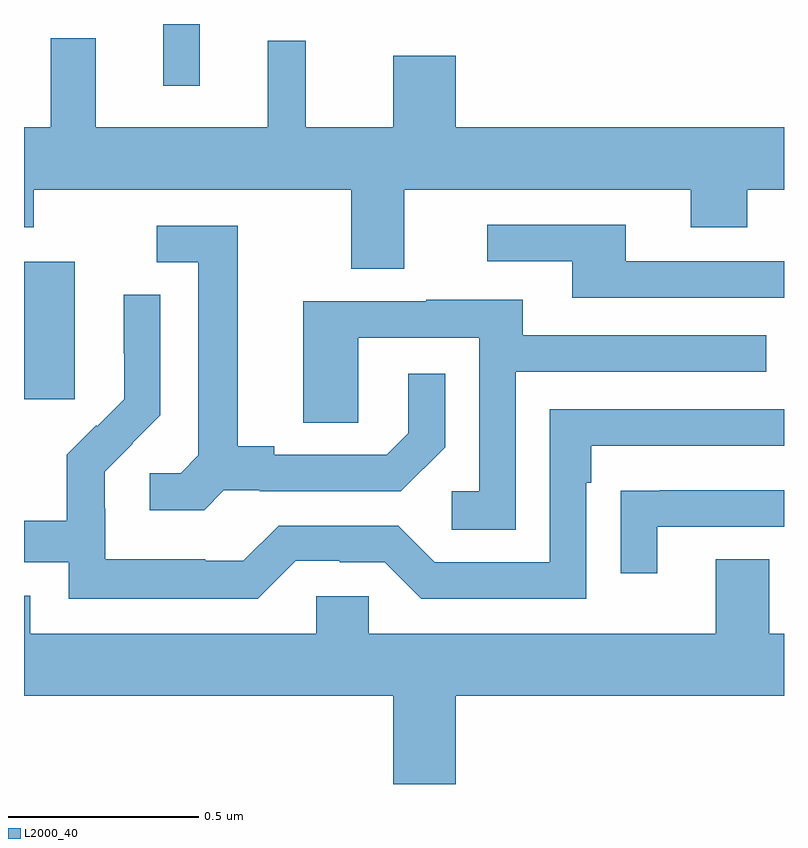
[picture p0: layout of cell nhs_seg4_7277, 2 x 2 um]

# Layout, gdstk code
import gdstk
lib = gdstk.Library(unit=1e-6, precision=1e-09)
def R(c, l, rs):  # rectangles x0, y0, x1, y1
    for r in rs: c.add(gdstk.rectangle(r[:2], r[2:], *l))
def P(c, l, *ps):  # polygons
    for p in ps: c.add(gdstk.Polygon(p, *l))
L2000_40 = (2000, 40)

nhs_seg4_7277 = lib.new_cell('nhs_seg4_7277')
R(nhs_seg4_7277, L2000_40, [(200,818.913,200.134,819.274), (200.366,819.738,200.463,819.9)])
P(nhs_seg4_7277, L2000_40, [(201.001,819.464),(201.755,819.464),(201.755,819.365),(201.903,819.365),(201.903,819.464),(202,819.464),(202,819.628),(201.136,819.628),(201.136,819.817),(200.972,819.817),(200.972,819.628),(200.742,819.628),(200.742,819.856),(200.642,819.856),(200.642,819.628),(200.189,819.628),(200.189,819.862),(200.071,819.862),(200.071,819.628),(200,819.628),(200,819.365),(200.025,819.365),(200.025,819.464),(200.861,819.464),(200.861,819.256),(201.001,819.256)],
  [(202,819.276),(201.583,819.276),(201.583,819.372),(201.219,819.372),(201.219,819.276),(201.443,819.276),(201.443,819.18),(202,819.18)],
  [(200.526,818.673),(200.62,818.673),(200.62,818.67),(200.992,818.67),(201.108,818.786),(201.108,818.98),(201.011,818.98),(201.011,818.823),(200.954,818.766),(200.659,818.766),(200.659,818.789),(200.563,818.789),(200.563,819.369),(200.349,819.369),(200.349,819.273),(200.459,819.273),(200.459,818.765),(200.412,818.718),(200.331,818.718),(200.331,818.621),(200.474,818.621)],
  [(200.715,818.487),(200.831,818.487),(200.831,818.484),(200.949,818.484),(201.045,818.388),(201.48,818.388),(201.48,818.693),(201.493,818.693),(201.493,818.79),(202,818.79),(202,818.886),(201.384,818.886),(201.384,818.484),(201.081,818.484),(200.985,818.58),(200.67,818.58),(200.577,818.487),(200.477,818.487),(200.477,818.491),(200.214,818.491),(200.214,818.625),(200.212,818.625),(200.212,818.722),(200.286,818.796),(200.285,818.797),(200.358,818.87),(200.358,819.188),(200.262,819.188),(200.262,819.034),(200.264,819.034),(200.264,818.912),(200.193,818.841),(200.19,818.844),(200.113,818.767),(200.113,818.593),(200,818.593),(200,818.484),(200.118,818.484),(200.118,818.387),(200.615,818.387)],
  [(201.294,818.985),(201.953,818.985),(201.953,819.081),(201.313,819.081),(201.313,819.175),(201.059,819.175),(201.059,819.171),(200.735,819.171),(200.735,818.851),(200.88,818.851),(200.88,819.075),(201.198,819.075),(201.198,818.67),(201.126,818.67),(201.126,818.569),(201.294,818.569)],
  [(201.667,818.577),(202,818.577),(202,818.673),(201.673,818.673),(201.673,818.672),(201.571,818.672),(201.571,818.454),(201.667,818.454)],
  [(201.136,818.132),(202,818.132),(202,818.296),(201.961,818.296),(201.961,818.491),(201.821,818.491),(201.821,818.296),(200.907,818.296),(200.907,818.394),(200.769,818.394),(200.769,818.296),(200.017,818.296),(200.017,818.395),(200,818.395),(200,818.132),(200.972,818.132),(200.972,817.9),(201.136,817.9)])

lib.write_gds('nhs_seg4_7277.gds')
